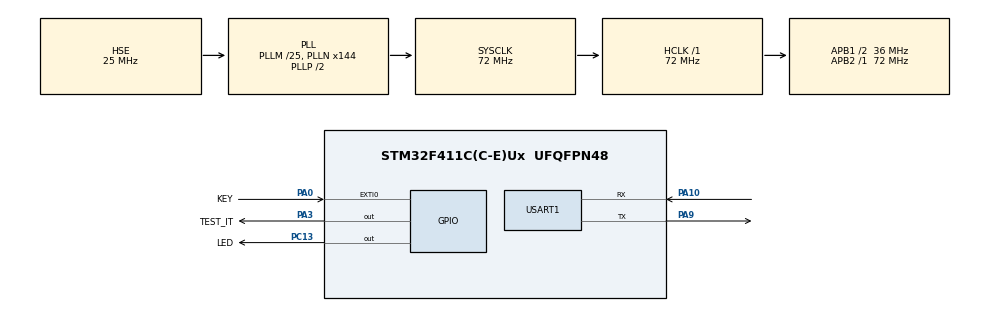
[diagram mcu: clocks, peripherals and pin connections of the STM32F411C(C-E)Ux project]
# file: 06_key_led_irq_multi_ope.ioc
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FREERTOS.Queues01=key_queue,4,uint16_t,0,Dynamic,NULL,NULL;led_queue,4,uint16_t,0,Dynamic,NULL,NULL
FREERTOS.Tasks01=KeyTask,24,128,keytask,Default,NULL,Dynamic,NULL,NULL;LedTask,8,128,ledtask,Default,NULL,Dynamic,NULL,NULL;Test_Task,8,128,test_task,Default,NULL,Dynamic,NULL,NULL
Mcu.Family=STM32F4
Mcu.Name=STM32F411C(C-E)Ux
Mcu.Package=UFQFPN48
NVIC.EXTI0_IRQn=true\:6\:0\:true\:false\:true\:true\:true\:true\:true
NVIC.PriorityGroup=NVIC_PRIORITYGROUP_4
NVIC.TIM1_UP_TIM10_IRQn=true\:15\:0\:false\:false\:true\:false\:false\:true\:true
NVIC.TIM2_IRQn=true\:5\:0\:false\:false\:true\:true\:true\:true\:true
NVIC.TimeBase=TIM1_UP_TIM10_IRQn
NVIC.TimeBaseIP=TIM1
PA0-WKUP.GPIO_Label=KEY
PA0-WKUP.GPIO_ModeDefaultEXTI=GPIO_MODE_IT_FALLING
PA0-WKUP.GPIO_PuPd=GPIO_PULLUP
PA0-WKUP.Signal=GPXTI0
PA10.Mode=Asynchronous
PA10.Signal=USART1_RX
PA13.Mode=Serial_Wire
PA13.Signal=SYS_JTMS-SWDIO
PA14.Mode=Serial_Wire
PA14.Signal=SYS_JTCK-SWCLK
PA3.GPIO_Label=TEST_IT
PA3.GPIO_Speed=GPIO_SPEED_FREQ_VERY_HIGH
PA3.PinState=GPIO_PIN_SET
PA3.Signal=GPIO_Output
PA9.Mode=Asynchronous
PA9.Signal=USART1_TX
PC13-ANTI_TAMP.GPIO_Label=LED
PC13-ANTI_TAMP.GPIO_PuPd=GPIO_NOPULL
PC13-ANTI_TAMP.PinState=GPIO_PIN_SET
PC13-ANTI_TAMP.Signal=GPIO_Output
PH0\ -\ OSC_IN.Mode=HSE-External-Oscillator
PH0\ -\ OSC_IN.Signal=RCC_OSC_IN
PH1\ -\ OSC_OUT.Mode=HSE-External-Oscillator
PH1\ -\ OSC_OUT.Signal=RCC_OSC_OUT
ProjectManager.HeapSize=0x200
ProjectManager.StackSize=0x400
ProjectManager.TargetToolchain=MDK-ARM V5.32
RCC.48MHZClocksFreq_Value=36000000
RCC.AHBFreq_Value=72000000
RCC.APB1CLKDivider=RCC_HCLK_DIV2
RCC.APB1Freq_Value=36000000
RCC.APB1TimFreq_Value=72000000
RCC.APB2Freq_Value=72000000
RCC.APB2TimFreq_Value=72000000
RCC.CortexFreq_Value=72000000
RCC.HCLKFreq_Value=72000000
RCC.HSE_VALUE=25000000
RCC.HSI_VALUE=16000000
RCC.LSE_VALUE=32768
RCC.PLLM=25
RCC.PLLN=144
RCC.PLLSourceVirtual=RCC_PLLSOURCE_HSE
RCC.SYSCLKFreq_VALUE=72000000
RCC.SYSCLKSource=RCC_SYSCLKSOURCE_PLLCLK
RCC.VCOOutputFreq_Value=144000000
TIM2.AutoReloadPreload=TIM_AUTORELOAD_PRELOAD_ENABLE
TIM2.Period=1000
TIM2.Prescaler=7200-1
USART1.VirtualMode=VM_ASYNC
VP_FREERTOS_VS_CMSIS_V2.Mode=CMSIS_V2
VP_SYS_VS_tim1.Mode=TIM1
VP_TIM2_VS_ClockSourceINT.Mode=Internal
board=custom

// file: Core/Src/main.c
/* USER CODE BEGIN Header */
/**
 ******************************************************************************
 * @file           : main.c
 * @brief          : Main program body
 ******************************************************************************
 * @attention
 *
 * Copyright (c) 2025 STMicroelectronics.
 * All rights reserved.
 *
 * This software is licensed under terms that can be found in the LICENSE file
 * in the root directory of this software component.
 * If no LICENSE file comes with this software, it is provided AS-IS.
 *
 ******************************************************************************
 */
/* USER CODE END Header */
#include "main.h"
#include "cmsis_os.h"
#include "tim.h"
#include "usart.h"
#include "gpio.h"

/* USER CODE BEGIN Includes */
#include "task_key.h"
/* USER CODE END Includes */

void SystemClock_Config(void);
void MX_FREERTOS_Init(void);

/* USER CODE BEGIN 0 */
int fputc(int ch, FILE *f)
{
  HAL_UART_Transmit(&huart1, (uint8_t *)&ch, 1, 0xFFFF);
  return ch;
}
/* USER CODE END 0 */

int main(void)
{

  /* MCU Configuration--------------------------------------------------------*/

  /* Reset of all peripherals, Initializes the Flash interface and the Systick. */
  HAL_Init();

  /* Configure the system clock */
  SystemClock_Config();

  /* Initialize all configured peripherals */
  MX_GPIO_Init();
  MX_USART1_UART_Init();
  MX_TIM2_Init();
  /* USER CODE BEGIN 2 */
  HAL_TIM_Base_Start_IT(&htim2);
  /* USER CODE END 2 */

  /* Init scheduler */
  osKernelInitialize();  /* Call init function for freertos objects (in freertos.c) */
  MX_FREERTOS_Init();

  /* Start scheduler */
  osKernelStart();
  /* We should never get here as control is now taken by the scheduler */
  /* Infinite loop */
  while (1)
  {

  }
}

void SystemClock_Config(void)
{
  RCC_OscInitTypeDef RCC_OscInitStruct = {0};
  RCC_ClkInitTypeDef RCC_ClkInitStruct = {0};

  /** Configure the main internal regulator output voltage
  */
  __HAL_RCC_PWR_CLK_ENABLE();
  __HAL_PWR_VOLTAGESCALING_CONFIG(PWR_REGULATOR_VOLTAGE_SCALE1);

  /** Initializes the RCC Oscillators according to the specified parameters
  * in the RCC_OscInitTypeDef structure.
  */
  RCC_OscInitStruct.OscillatorType = RCC_OSCILLATORTYPE_HSE;
  RCC_OscInitStruct.HSEState = RCC_HSE_ON;
  RCC_OscInitStruct.PLL.PLLState = RCC_PLL_ON;
  RCC_OscInitStruct.PLL.PLLSource = RCC_PLLSOURCE_HSE;
  RCC_OscInitStruct.PLL.PLLM = 25;
  RCC_OscInitStruct.PLL.PLLN = 144;
  RCC_OscInitStruct.PLL.PLLP = RCC_PLLP_DIV2;
  RCC_OscInitStruct.PLL.PLLQ = 4;
  if (HAL_RCC_OscConfig(&RCC_OscInitStruct) != HAL_OK)
  {
    Error_Handler();
  }

  /** Initializes the CPU, AHB and APB buses clocks
  */
  RCC_ClkInitStruct.ClockType = RCC_CLOCKTYPE_HCLK|RCC_CLOCKTYPE_SYSCLK
                              |RCC_CLOCKTYPE_PCLK1|RCC_CLOCKTYPE_PCLK2;
  RCC_ClkInitStruct.SYSCLKSource = RCC_SYSCLKSOURCE_PLLCLK;
  RCC_ClkInitStruct.AHBCLKDivider = RCC_SYSCLK_DIV1;
  RCC_ClkInitStruct.APB1CLKDivider = RCC_HCLK_DIV2;
  RCC_ClkInitStruct.APB2CLKDivider = RCC_HCLK_DIV1;

  if (HAL_RCC_ClockConfig(&RCC_ClkInitStruct, FLASH_LATENCY_2) != HAL_OK)
  {
    Error_Handler();
  }
}

/* USER CODE BEGIN 4 */
void HAL_GPIO_EXTI_Callback(uint16_t GPIO_Pin)
{
  static key_event_t key_event = {0, FALLING_EDGE}; // Initial state: falling edge};
  BaseType_t xHigherPriorityTaskWoken;

	// We have not woken a task at the start of the ISR.
	xHigherPriorityTaskWoken = pdFALSE;

  printf("exti callback\r\n");

  GPIO_InitTypeDef GPIO_InitStruct = {0};
  GPIO_InitStruct.Pin = KEY_Pin;
  GPIO_InitStruct.Pull = GPIO_PULLUP;

  if (KEY_Pin == GPIO_Pin)
  {
    //1.1按下&&触发方式为falling
    if (KEY_PRESS == bsp_key_interface.pf_key_get() && FALLING_EDGE == key_event.triggermode)
    {
      // 1.1.1更新key_event.systickcout
      key_event.systickcount = HAL_GetTick();
      // 1.1.2发�?�按键事件消息（结构�??:systickcount、trigger_mode）到队列key_queue
      if (pdTRUE == xQueueSendFromISR(g_key_queue, &key_event, &xHigherPriorityTaskWoken))
      {
        printf("EXTI send key_event (falling edge triggered) to g_key_queue at [%d] tick.\n", HAL_GetTick());
      }
      else
      {
        printf("EXTI failed to send key_event (falling edge triggered) to g_key_queue at [%d] tick.\n", HAL_GetTick());
      }
      // 1.1.3将结构体成员trigger_mode更新为rising
      key_event.triggermode = RISING_EDGE;
      // 1.1.4更新中断触发方式为rising
      GPIO_InitStruct.Mode = GPIO_MODE_IT_RISING;
      HAL_GPIO_Init(KEY_GPIO_Port, &GPIO_InitStruct);
    }//1.2松开&&触发方式为rising
    else if (KEY_RELEASE == bsp_key_interface.pf_key_get() && RISING_EDGE == key_event.triggermode)
    {
      // 1.2.1更新key_event.systickcout
      key_event.systickcount = HAL_GetTick();
      // 1.2.2发�?�按键事件消息（结构�??:systickcount、trigger_mode）到队列key_queue
      if (pdTRUE == xQueueSendFromISR(g_key_queue, &key_event, &xHigherPriorityTaskWoken))
      {
        printf("EXTI send key_event (rising edge triggered) to g_key_queue at [%d] tick.\n", HAL_GetTick());
      }
      else
      {
        printf("EXTI failed to send key_event (rising edge triggered) to g_key_queue at [%d] tick.\n", HAL_GetTick());
      }
      // 1.2.3将结构体成员trigger_mode更新为falling
      key_event.triggermode = FALLING_EDGE;
      // 1.2.4更新中断触发方式为falling
      GPIO_InitStruct.Mode = GPIO_MODE_IT_FALLING;
      HAL_GPIO_Init(KEY_GPIO_Port, &GPIO_InitStruct);
    }
  }
}

static void handle_led_blink(void)
{
  static uint32_t blink_order = 0;
  if (*task_led_interface.p_blink_count > 0)
  {
      if (0 == (blink_order % 2) ) {
          bsp_led_interface.pf_led_on();
      } else {
          bsp_led_interface.pf_led_off();
          (*task_led_interface.p_blink_count)--;
      }
      blink_order++;
  }else
  {
    blink_order = 0;
  }
}
/* USER CODE END 4 */

void HAL_TIM_PeriodElapsedCallback(TIM_HandleTypeDef *htim)
{
  if (htim->Instance == TIM1) {
    HAL_IncTick();
  }
  /* USER CODE BEGIN Callback 1 */
  if (htim->Instance == TIM2) {
    handle_led_blink();
  }
  /* USER CODE END Callback 1 */
}

void Error_Handler(void)
{
  __disable_irq();
  while (1)
  {
  }
}

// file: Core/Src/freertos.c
/* USER CODE BEGIN Header */
/**
  ******************************************************************************
  * File Name          : freertos.c
  * Description        : Code for freertos applications
  ******************************************************************************
  * @attention
  *
  * Copyright (c) 2025 STMicroelectronics.
  * All rights reserved.
  *
  * This software is licensed under terms that can be found in the LICENSE file
  * in the root directory of this software component.
  * If no LICENSE file comes with this software, it is provided AS-IS.
  *
  ******************************************************************************
  */
/* USER CODE END Header */

#include "FreeRTOS.h"
#include "task.h"
#include "main.h"
#include "cmsis_os.h"

/* USER CODE BEGIN Includes */
#include "task_led.h"
#include "task_key.h"
/* USER CODE END Includes */

/* Definitions for KeyTask */
osThreadId_t KeyTaskHandle;
const osThreadAttr_t KeyTask_attributes = {
  .name = "KeyTask",
  .stack_size = 128 * 4,
  .priority = (osPriority_t) osPriorityNormal,
};
/* Definitions for LedTask */
osThreadId_t LedTaskHandle;
const osThreadAttr_t LedTask_attributes = {
  .name = "LedTask",
  .stack_size = 128 * 4,
  .priority = (osPriority_t) osPriorityLow,
};
/* Definitions for Test_Task */
osThreadId_t Test_TaskHandle;
const osThreadAttr_t Test_Task_attributes = {
  .name = "Test_Task",
  .stack_size = 128 * 4,
  .priority = (osPriority_t) osPriorityLow,
};
/* Definitions for key_queue */
osMessageQueueId_t key_queueHandle;
const osMessageQueueAttr_t key_queue_attributes = {
  .name = "key_queue"
};
/* Definitions for led_queue */
osMessageQueueId_t led_queueHandle;
const osMessageQueueAttr_t led_queue_attributes = {
  .name = "led_queue"
};

/* USER CODE BEGIN FunctionPrototypes */
static void validate_key_task_with_delay(void);
static void led_task_test(void);
/* USER CODE END FunctionPrototypes */

void keytask(void *argument);
void ledtask(void *argument);
void test_task(void *argument);

void MX_FREERTOS_Init(void); /* (MISRA C 2004 rule 8.1) */

void MX_FREERTOS_Init(void) {

  /* Create the queue(s) */
  /* creation of key_queue */
  key_queueHandle = osMessageQueueNew (4, sizeof(uint16_t), &key_queue_attributes);

  /* creation of led_queue */
  led_queueHandle = osMessageQueueNew (4, sizeof(uint16_t), &led_queue_attributes);

  /* Create the thread(s) */
  /* creation of KeyTask */
  KeyTaskHandle = osThreadNew(keytask, NULL, &KeyTask_attributes);

  /* creation of LedTask */
  LedTaskHandle = osThreadNew(ledtask, NULL, &LedTask_attributes);

  /* creation of Test_Task */
  // Test_TaskHandle = osThreadNew(test_task, NULL, &Test_Task_attributes);

}

void keytask(void *argument)
{
  /* USER CODE BEGIN keytask */
  task_key_interface.pf_key_task_init();
  /* Infinite loop */
  for(;;)
  {
    printf("key_task is running at [%d] tick.\r\n",HAL_GetTick());
    task_key_interface.pf_key_task();
  }
  /* USER CODE END keytask */
}

void ledtask(void *argument)
{
  /* USER CODE BEGIN ledtask */
  bsp_led_interface.pf_led_init();
  task_led_interface.pf_led_task_init();
  /* Infinite loop */
  for(;;)
  {
    printf("led_task is running at [%d] tick.\r\n",HAL_GetTick());
    task_led_interface.pf_led_task();
  }
  /* USER CODE END ledtask */
}

void test_task(void *argument)
{
  /* USER CODE BEGIN test_task */
  /* Infinite loop */
  for(;;)
  {
    printf("test_task is running at [%d] tick.\r\n",HAL_GetTick());
    validate_key_task_with_delay();
    // osDelay(1);
  }
  /* USER CODE END test_task */
}

/* USER CODE BEGIN Application */
// Test function to validate the behavior of key_task
// Test function to validate the behavior of key_task with delays
static void validate_key_task_with_delay(void)
{
    // Simulate key press and release events with various durations

    // Test: Key press with short duration (debouncing)
    key_event_t key_event_1 = { HAL_GetTick(), FALLING_EDGE };
    if(pdTRUE == xQueueSend(g_key_queue, &key_event_1, 0))
    {
        printf("TEST TASK:Send key_event_1 (FALLING_EDGE) to queue at [%d] tick.\n", HAL_GetTick());
    }
    else
    {
        printf("Failed to send key_event_1 (FALLING_EDGE) to queue at [%d] tick.\n", HAL_GetTick());
    }

    key_event_t key_event_2 = { HAL_GetTick() + 5, RISING_EDGE }; // 5ms duration
    if(pdTRUE == xQueueSend(g_key_queue, &key_event_2, 0))
    {
        printf("TEST TASK:Send key_event_2 (RISING_EDGE) to queue at [%d] tick.\n", HAL_GetTick());
    }
    else
    {
        printf("Failed to send key_event_2 (RISING_EDGE) to queue at [%d] tick.\n", HAL_GetTick());
    }
    vTaskDelay(pdMS_TO_TICKS(5000)); // Delay 5 seconds before next event

    // Test: Key press with short duration (short press)
    key_event_1.systickcount = HAL_GetTick();
    if(pdTRUE == xQueueSend(g_key_queue, &key_event_1, 0))
    {
        printf("TEST TASK:Send key_event_1 (FALLING_EDGE) to queue at [%d] tick.\n", HAL_GetTick());
    }
    else
    {
        printf("Failed to send key_event_1 (FALLING_EDGE) to queue at [%d] tick.\n", HAL_GetTick());
    }

    key_event_2.systickcount = HAL_GetTick() + 1000; // 1000ms duration
    if(pdTRUE == xQueueSend(g_key_queue, &key_event_2, 0))
    {
        printf("TEST TASK:Send key_event_2 (RISING_EDGE) to queue at [%d] tick.\n", HAL_GetTick());
    }
    else
    {
        printf("Failed to send key_event_2 (RISING_EDGE) to queue at [%d] tick.\n", HAL_GetTick());
    }
    vTaskDelay(pdMS_TO_TICKS(5000)); // Delay 5 seconds before next event

    // Test: Key press with long duration (long press)
    key_event_1.systickcount = HAL_GetTick();
    if(pdTRUE == xQueueSend(g_key_queue, &key_event_1, 0))
    {
        printf("TEST TASK:Send key_event_1 (FALLING_EDGE) to queue at [%d] tick.\n", HAL_GetTick());
    }
    else
    {
        printf("Failed to send key_event_1 (FALLING_EDGE) to queue at [%d] tick.\n", HAL_GetTick());
    }

    key_event_2.systickcount = HAL_GetTick() + 3000; // 3000ms duration
    if(pdTRUE == xQueueSend(g_key_queue, &key_event_2, 0))
    {
        printf("TEST TASK:Send key_event_2 (RISING_EDGE) to queue at [%d] tick.\n", HAL_GetTick());
    }
    else
    {
        printf("Failed to send key_event_2 (RISING_EDGE) to queue at [%d] tick.\n", HAL_GetTick());
    }
    vTaskDelay(pdMS_TO_TICKS(5000)); // Delay 5 seconds before next event

    // Test: Key press with excessive duration (no action)
    key_event_1.systickcount = HAL_GetTick();
    if(pdTRUE == xQueueSend(g_key_queue, &key_event_1, 0))
    {
        printf("TEST TASK:Send key_event_1 (FALLING_EDGE) to queue at [%d] tick.\n", HAL_GetTick());
    }
    else
    {
        printf("Failed to send key_event_1 (FALLING_EDGE) to queue at [%d] tick.\n", HAL_GetTick());
    }

    key_event_2.systickcount = HAL_GetTick() + 6000; // 6000ms duration
    if(pdTRUE == xQueueSend(g_key_queue, &key_event_2, 0))
    {
        printf("TEST TASK:Send key_event_2 (RISING_EDGE) to queue at [%d] tick.\n", HAL_GetTick());
    }
    else
    {
        printf("Failed to send key_event_2 (RISING_EDGE) to queue at [%d] tick.\n", HAL_GetTick());
    }
    vTaskDelay(pdMS_TO_TICKS(5000)); // Delay 5 seconds before next event
}

static void led_task_test(void) {
  key_press_type_t key_press_type;
  // 测试不同的按键状�???

  //1.短按
  key_press_type = SHORT_PRESS;
/*   taskENTER_CRITICAL(); */
  if(pdTRUE == xQueueSend(g_led_queue,&key_press_type,0))
  {
    printf("Send SHORT_PRESS to queue at [%d] tick.\n",HAL_GetTick());
  }
  else
  {
    printf("Failed to send SHORT_PRESS to queue at [%d] tick.\n",HAL_GetTick());
  }
  /* taskEXIT_CRITICAL(); */
  vTaskDelay(3000);  // Delay 3 seconds

  //2.长按
  key_press_type = LONG_PRESS;
 /*  taskENTER_CRITICAL(); */
  if(pdTRUE == xQueueSend(g_led_queue,&key_press_type,0))
  {
    printf("Send LONG_PRESS to queue at [%d] tick.\n",HAL_GetTick());
  }
  else
  {
    printf("Failed to send LONG_PRESS to queue at [%d] tick.\n",HAL_GetTick());
  }
  /* taskEXIT_CRITICAL(); */
  vTaskDelay(3000);  // Delay 3 seconds

  //3.未按�???
  /* taskENTER_CRITICAL(); */
  key_press_type = NO_PRESS;
  if(pdTRUE == xQueueSend(g_led_queue,&key_press_type,0))
  {
    printf("Send NO_PRESS to queue at [%d] tick.\n",HAL_GetTick());
  }
  else{
    printf("Failed to send NO_PRESS to queue at [%d] tick.\n",HAL_GetTick());
  }
  /* taskEXIT_CRITICAL(); */
  vTaskDelay(3000);  // Delay 3 seconds
}
/* USER CODE END Application */
